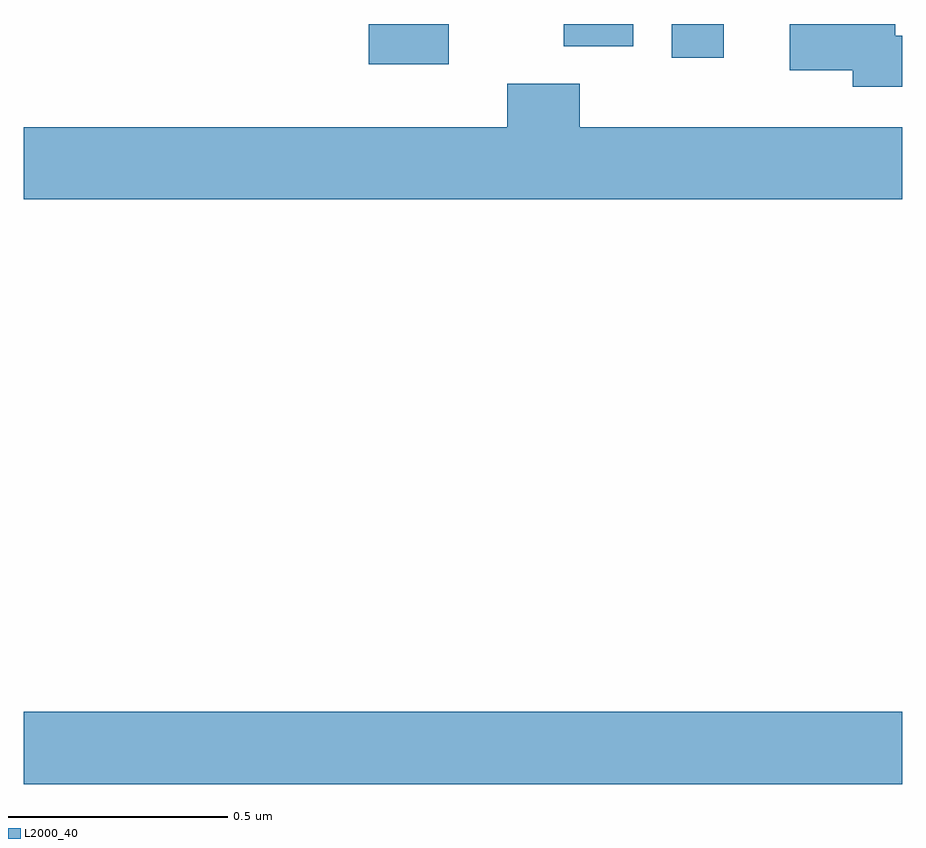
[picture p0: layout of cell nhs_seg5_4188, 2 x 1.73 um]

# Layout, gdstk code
import gdstk
lib = gdstk.Library(unit=1e-6, precision=1e-09)
def R(c, l, rs):  # rectangles x0, y0, x1, y1
    for r in rs: c.add(gdstk.rectangle(r[:2], r[2:], *l))
def P(c, l, *ps):  # polygons
    for p in ps: c.add(gdstk.Polygon(p, *l))
L2000_40 = (2000, 40)

nhs_seg5_4188 = lib.new_cell('nhs_seg5_4188')
R(nhs_seg5_4188, L2000_40, [(167,882.068,169,882.232), (167.785,883.707,167.968,883.799), (168.476,883.722,168.594,883.799), (168.23,883.748,168.388,883.799)])
P(nhs_seg5_4188, L2000_40, [(169,883.772),(168.985,883.772),(168.985,883.799),(168.744,883.799),(168.744,883.694),(168.888,883.694),(168.888,883.656),(169,883.656)],
  [(169,883.564),(168.266,883.564),(168.266,883.663),(168.101,883.663),(168.101,883.564),(167,883.564),(167,883.4),(169,883.4)])

lib.write_gds('nhs_seg5_4188.gds')
